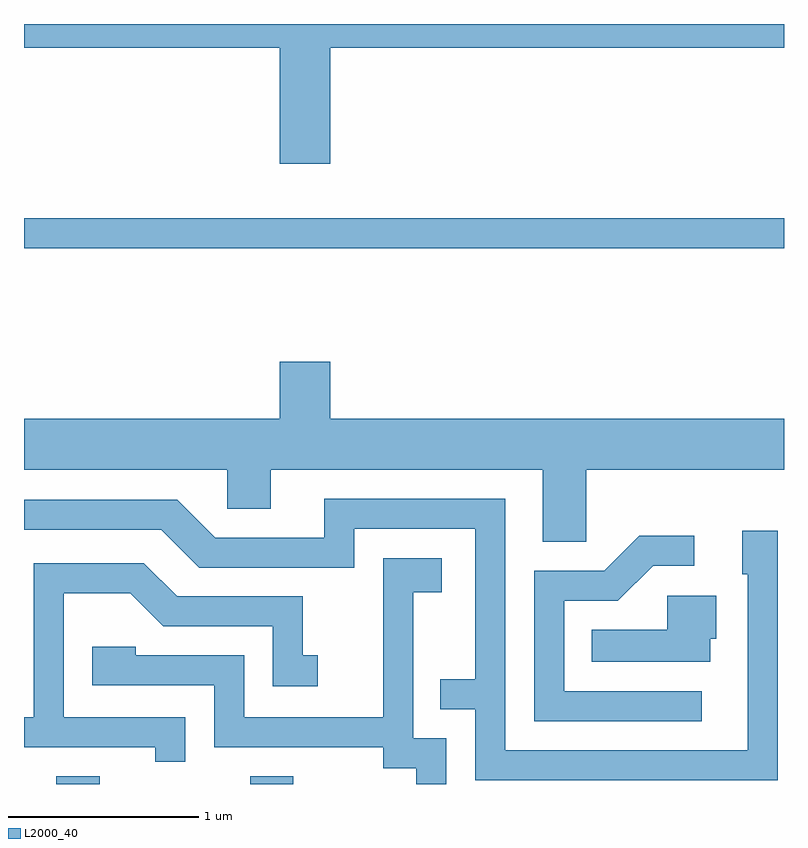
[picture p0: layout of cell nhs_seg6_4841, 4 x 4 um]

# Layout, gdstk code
import gdstk
lib = gdstk.Library(unit=1e-6, precision=1e-09)
def R(c, l, rs):  # rectangles x0, y0, x1, y1
    for r in rs: c.add(gdstk.rectangle(r[:2], r[2:], *l))
def P(c, l, *ps):  # polygons
    for p in ps: c.add(gdstk.Polygon(p, *l))
L2000_40 = (2000, 40)

nhs_seg6_4841 = lib.new_cell('nhs_seg6_4841')
R(nhs_seg6_4841, L2000_40, [(333.781,1546.162,334.009,1546.204), (334.801,1546.162,335.029,1546.204), (333.611,1548.981,337.611,1549.139)])
P(nhs_seg6_4841, L2000_40, [(335.224,1550.036),(337.611,1550.036),(337.611,1550.162),(333.611,1550.162),(333.611,1550.036),(334.956,1550.036),(334.956,1549.426),(335.224,1549.426)],
  [(336.569,1547.816),(337.611,1547.816),(337.611,1548.084),(335.224,1548.084),(335.224,1548.384),(334.956,1548.384),(334.956,1548.084),(333.611,1548.084),(333.611,1547.816),(334.681,1547.816),(334.681,1547.611),(334.909,1547.611),(334.909,1547.816),(336.341,1547.816),(336.341,1547.436),(336.569,1547.436)],
  [(337.579,1547.494),(337.391,1547.494),(337.391,1547.266),(337.421,1547.266),(337.421,1546.339),(336.144,1546.339),(336.144,1547.664),(335.191,1547.664),(335.191,1547.459),(334.617,1547.459),(334.417,1547.659),(333.611,1547.659),(333.611,1547.501),(334.334,1547.501),(334.534,1547.301),(335.349,1547.301),(335.349,1547.506),(335.986,1547.506),(335.986,1546.714),(335.803,1546.714),(335.803,1546.556),(335.986,1546.556),(335.986,1546.181),(337.579,1546.181)],
  [(337.178,1546.649),(336.454,1546.649),(336.454,1547.126),(336.737,1547.126),(336.922,1547.311),(337.138,1547.311),(337.138,1547.469),(336.849,1547.469),(336.664,1547.284),(336.296,1547.284),(336.296,1546.491),(337.178,1546.491)],
  [(335.834,1546.404),(335.659,1546.404),(335.659,1547.171),(335.809,1547.171),(335.809,1547.349),(335.501,1547.349),(335.501,1546.514),(334.769,1546.514),(334.769,1546.839),(334.199,1546.839),(334.199,1546.884),(333.971,1546.884),(333.971,1546.681),(334.611,1546.681),(334.611,1546.356),(335.501,1546.356),(335.501,1546.246),(335.676,1546.246),(335.676,1546.162),(335.834,1546.162)],
  [(334.459,1546.514),(333.819,1546.514),(333.819,1547.166),(334.169,1547.166),(334.344,1546.991),(334.921,1546.991),(334.921,1546.676),(335.158,1546.676),(335.158,1546.839),(335.079,1546.839),(335.079,1547.149),(334.417,1547.149),(334.242,1547.324),(333.661,1547.324),(333.661,1546.514),(333.611,1546.514),(333.611,1546.356),(334.301,1546.356),(334.301,1546.278),(334.459,1546.278)],
  [(337.224,1546.926),(337.254,1546.926),(337.254,1547.154),(336.996,1547.154),(336.996,1546.974),(336.598,1546.974),(336.598,1546.806),(337.224,1546.806)])

lib.write_gds('nhs_seg6_4841.gds')
